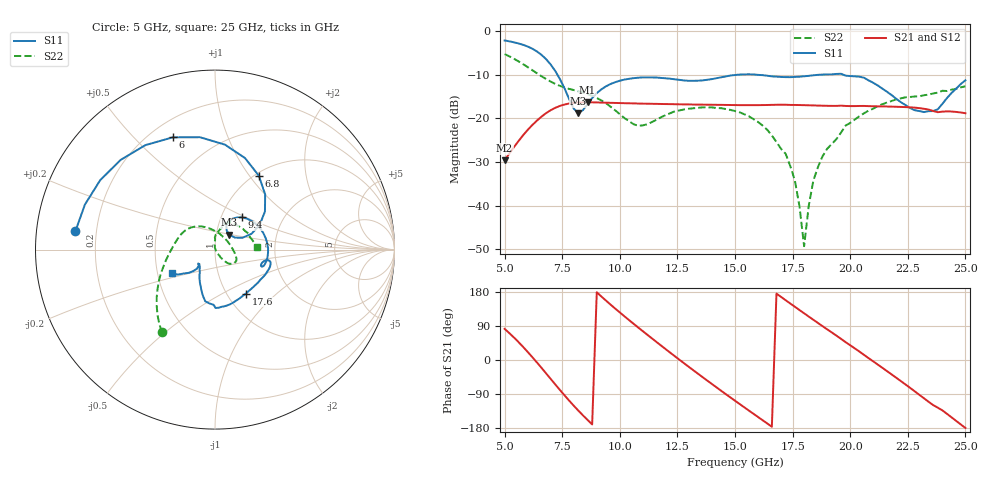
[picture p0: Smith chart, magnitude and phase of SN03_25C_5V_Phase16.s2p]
!File name = SN03_25C_5V_Phase16.s2p
!Date = 2/3/2014
!Time = 2:35 PM
!Test duration(min) = 0.07
!Test = SPars
!MPTS version = 7.120.8
!Comments =
!set_LD1(binary) = 16
!set_LD2(binary) = 524271
!test = SPars
!date_code = 20140203
!file_name = SN03_25C_5V_Phase16.s2p
!VREF(V) = 5.000
!VREF(mA) = 0.001
# GHz  S  DB  R  50
!%	Freq(GHz)  S11(dB)  S11(deg)  S21(dB)  S21(deg)  S12(dB)  S12(deg)  S22(dB)  S22(deg)
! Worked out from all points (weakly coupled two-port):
!   101 points, 5 GHz to 25 GHz, reference 50 ohm
!   highest |S21| = -16.29 dB at 8.6 GHz (marker M1); lowest = -29.6 dB at 5 GHz (marker M2)
!   lowest |S11| = -18.8 dB at 8.2 GHz (marker M3), VSWR 1.26, Z = 57.9 + j9.66 ohm
!   |S11| at or under -10 dB: 7.296 GHz to 15.07 GHz (7.773 GHz wide, 69.5 % of centre); 16 GHz to 18.59 GHz (2.593 GHz wide, 15 % of centre); 19.71 GHz to end of sweep
!   |S22| runs from -49.3 to -5.2 dB; largest |S21 - S12| = 0.00053
!   S11 on the Smith chart (normalised r, x): 5 GHz: 0.12, +0.06; 6 GHz: 0.29, +0.65; 6.8 GHz: 1.04, +1.11; 9.4 GHz: 1.25, +0.47; 17.6 GHz: 1.22, -0.66; 25 GHz: 0.60, -0.17
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5  -2.11 172.5  -29.61 82.3  -29.63 82.3  -5.24 -122.7
6  -3.50 110.7  -22.64 21.4  -22.65 21.4  -8.21 -145.5
6.8  -6.40 59.4  -18.78 -35.3  -18.81 -35.1  -10.95 -166.7
7.6  -13.09 23.4  -16.80 -93.2  -16.83 -93.1  -12.89 171.1
8.2  -18.77 45.6  -16.34 -133.5  -16.36 -133.5  -13.77 153.6
8.4  -18.09 58.6  -16.30 -146.1  -16.32 -146.0  -14.05 148.3
8.6  -16.68 64.3  -16.29 -158.2  -16.31 -158.1  -14.40 142.8
9.4  -12.63 50.3  -16.38 156.8  -16.40 156.9  -16.49 120.2
10.8  -10.65 6.6  -16.57 85.7  -16.59 85.7  -21.67 48.0
11.8  -10.71 -14.4  -16.68 37.6  -16.69 37.7  -19.69 -3.3
15  -10.04 -12.2  -16.93 -107.4  -16.94 -107.5  -18.30 -40.3
16.4  -10.20 -29.4  -16.91 -167.5  -16.93 -167.5  -22.60 -51.2
17.2  -10.52 -46.1  -16.86 157.6  -16.87 157.7  -28.11 -53.8
17.6  -10.47 -55.1  -16.91 140.4  -16.92 140.5  -34.24 -59.0
18  -10.32 -63.6  -16.95 123.2  -16.97 123.2  -49.29 31.0
18.2  -10.23 -67.8  -16.98 114.6  -17.00 114.7  -40.05 94.2
18.4  -10.10 -71.5  -17.01 106.2  -17.03 106.2  -34.27 93.2
18.8  -9.94 -77.9  -17.07 89.3  -17.09 89.4  -28.68 91.8
19.8  -10.19 -91.2  -17.13 47.1  -17.14 47.1  -21.64 87.5
21.8  -14.65 -117.7  -17.29 -38.2  -17.30 -38.1  -15.99 67.6
23.6  -18.30 -140.6  -18.29 -119.0  -18.30 -119.0  -14.27 37.2
25  -11.25 -151.0  -18.79 -179.4  -18.81 -179.3  -12.61 3.7
